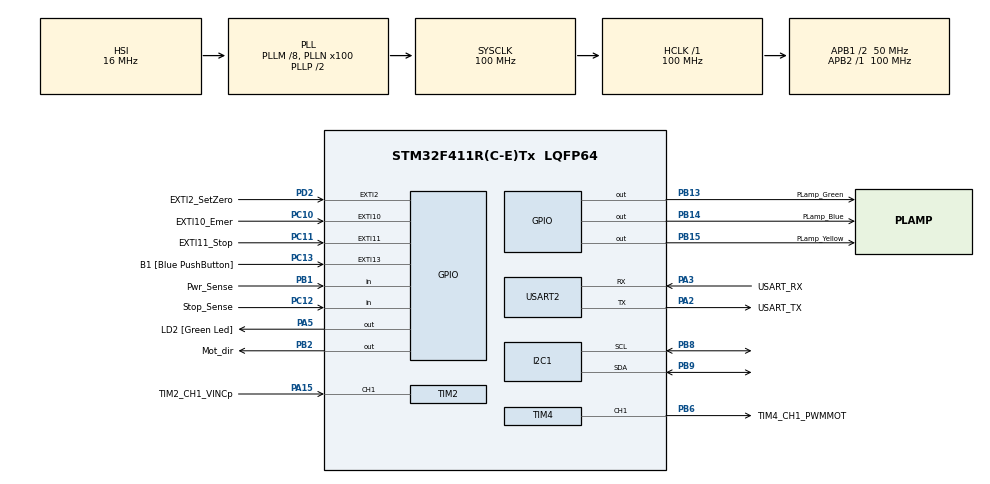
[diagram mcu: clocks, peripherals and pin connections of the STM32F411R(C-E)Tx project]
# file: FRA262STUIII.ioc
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ARM.CMSIS.5.6.0.CMSISJjCORE=true
ARM.CMSIS.5.6.0.CMSISJjDSP=Library
Dma.Request0=TIM2_CH1
Dma.TIM2_CH1.0.Direction=DMA_PERIPH_TO_MEMORY
Dma.TIM2_CH1.0.FIFOMode=DMA_FIFOMODE_DISABLE
Dma.TIM2_CH1.0.Instance=DMA1_Stream5
Dma.TIM2_CH1.0.MemDataAlignment=DMA_MDATAALIGN_WORD
Dma.TIM2_CH1.0.MemInc=DMA_MINC_ENABLE
Dma.TIM2_CH1.0.Mode=DMA_CIRCULAR
Dma.TIM2_CH1.0.PeriphDataAlignment=DMA_PDATAALIGN_WORD
Dma.TIM2_CH1.0.PeriphInc=DMA_PINC_DISABLE
Dma.TIM2_CH1.0.Priority=DMA_PRIORITY_LOW
I2C1.I2C_Mode=I2C_Fast
Mcu.Family=STM32F4
Mcu.Name=STM32F411R(C-E)Tx
Mcu.Package=LQFP64
NVIC.DMA1_Stream5_IRQn=true\:0\:0\:false\:false\:true\:false\:true\:true
NVIC.EXTI15_10_IRQn=true\:0\:0\:false\:false\:true\:true\:true\:true
NVIC.EXTI2_IRQn=true\:0\:0\:false\:false\:true\:true\:true\:true
NVIC.I2C1_ER_IRQn=true\:0\:0\:false\:false\:true\:true\:true\:true
NVIC.I2C1_EV_IRQn=true\:0\:0\:false\:false\:true\:true\:true\:true
NVIC.PriorityGroup=NVIC_PRIORITYGROUP_0
NVIC.TIM1_TRG_COM_TIM11_IRQn=true\:0\:0\:false\:false\:true\:true\:true\:true
PA13.GPIO_Label=TMS
PA13.Mode=Serial_Wire
PA13.Signal=SYS_JTMS-SWDIO
PA14.GPIO_Label=TCK
PA14.Mode=Serial_Wire
PA14.Signal=SYS_JTCK-SWCLK
PA15.GPIO_Label=TIM2_CH1_VINCp
PA15.Signal=S_TIM2_CH1_ETR
PA2.GPIO_Label=USART_TX
PA2.Mode=Asynchronous
PA2.Signal=USART2_TX
PA3.GPIO_Label=USART_RX
PA3.Mode=Asynchronous
PA3.Signal=USART2_RX
PA5.GPIO_Label=LD2 [Green Led]
PA5.Signal=GPIO_Output
PB1.GPIO_Label=Pwr_Sense
PB1.Signal=GPIO_Input
PB13.GPIO_Label=PLamp_Green
PB13.Signal=GPIO_Output
PB14.GPIO_Label=PLamp_Blue
PB14.Signal=GPIO_Output
PB15.GPIO_Label=PLamp_Yellow
PB15.Signal=GPIO_Output
PB2.GPIO_Label=Mot_dir
PB2.Signal=GPIO_Output
PB3.GPIO_Label=SWO
PB3.Signal=SYS_JTDO-SWO
PB6.GPIO_Label=TIM4_CH1_PWMMOT
PB6.Signal=S_TIM4_CH1
PB8.Mode=I2C
PB8.Signal=I2C1_SCL
PB9.Mode=I2C
PB9.Signal=I2C1_SDA
PC10.GPIO_Label=EXTI10_Emer
PC10.GPIO_ModeDefaultEXTI=GPIO_MODE_IT_RISING
PC10.GPIO_PuPd=GPIO_NOPULL
PC10.Signal=GPXTI10
PC11.GPIO_Label=EXTI11_Stop
PC11.GPIO_ModeDefaultEXTI=GPIO_MODE_IT_FALLING
PC11.Signal=GPXTI11
PC12.GPIO_Label=Stop_Sense
PC12.Signal=GPIO_Input
PC13-ANTI_TAMP.GPIO_Label=B1 [Blue PushButton]
PC13-ANTI_TAMP.GPIO_ModeDefaultEXTI=GPIO_MODE_IT_FALLING
PC13-ANTI_TAMP.Signal=GPXTI13
PC14-OSC32_IN.Mode=LSE-External-Oscillator
PC14-OSC32_IN.Signal=RCC_OSC32_IN
PC15-OSC32_OUT.Mode=LSE-External-Oscillator
PC15-OSC32_OUT.Signal=RCC_OSC32_OUT
PD2.GPIO_Label=EXTI2_SetZero
PD2.Signal=GPXTI2
PH0\ -\ OSC_IN.Mode=HSE-External-Clock-Source
PH0\ -\ OSC_IN.Signal=RCC_OSC_IN
PH1\ -\ OSC_OUT.Mode=HSE-External-Clock-Source
PH1\ -\ OSC_OUT.Signal=RCC_OSC_OUT
ProjectManager.HeapSize=0x200
ProjectManager.StackSize=0x400
ProjectManager.TargetToolchain=STM32CubeIDE
RCC.48MHZClocksFreq_Value=50000000
RCC.AHBFreq_Value=100000000
RCC.APB1CLKDivider=RCC_HCLK_DIV2
RCC.APB1Freq_Value=50000000
RCC.APB1TimFreq_Value=100000000
RCC.APB2Freq_Value=100000000
RCC.APB2TimFreq_Value=100000000
RCC.CortexFreq_Value=100000000
RCC.FLatency-AdvancedSettings=FLASH_LATENCY_3
RCC.HCLKFreq_Value=100000000
RCC.HSE_VALUE=8000000
RCC.HSI_VALUE=16000000
RCC.PLLM=8
RCC.PLLN=100
RCC.SYSCLKFreq_VALUE=100000000
RCC.SYSCLKSource=RCC_SYSCLKSOURCE_PLLCLK
RCC.VCOOutputFreq_Value=200000000
SH.S_TIM2_CH1_ETR.0=TIM2_CH1,Input_Capture1_from_TI1
SH.S_TIM4_CH1.0=TIM4_CH1,PWM Generation1 CH1
TIM11.Prescaler=99
TIM2.AutoReloadPreload=TIM_AUTORELOAD_PRELOAD_DISABLE
TIM2.Channel-Input_Capture1_from_TI1=TIM_CHANNEL_1
TIM2.ICPolarity_CH1=TIM_INPUTCHANNELPOLARITY_RISING
TIM2.Prescaler=99
TIM4.Channel-PWM\ Generation1\ CH1=TIM_CHANNEL_1
TIM4.Period=9999
USART2.VirtualMode=VM_ASYNC
VP_ARM.CMSIS_VS_CMSISJjCORE_5.3.0_5.6.0.Mode=CMSISJjCORE
VP_ARM.CMSIS_VS_CMSISJjDSP_1.7.0_5.6.0.Mode=CMSISJjDSP
VP_TIM11_VS_ClockSourceINT.Mode=Enable_Timer
VP_TIM2_VS_ClockSourceINT.Mode=Internal
VP_TIM4_VS_ClockSourceINT.Mode=Internal
board=NUCLEO-F411RE

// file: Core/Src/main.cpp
/* USER CODE BEGIN Header */
/**
  ******************************************************************************
  * @file           : main.c
  * @brief          : Main program body
  ******************************************************************************
  * @attention
  *
  * Copyright (c) 2022 STMicroelectronics.
  * All rights reserved.
  *
  * This software is licensed under terms that can be found in the LICENSE file
  * in the root directory of this software component.
  * If no LICENSE file comes with this software, it is provided AS-IS.
  *
  ******************************************************************************
  */
/*
  //----------------------------------
  // FRA262 Robotics Studio III, 1 DOF
  // G6, OWL'S OFFICE
  // ----------------------------------
  // Pin for
  // - Absolute Encoder read
  //	[Position, Velocity] (State Machine read with OF-STUIII-SEN011 Circuit)
  // - Motor Control
  // 	[PWM, direction] (Using Cytron MD10C)
  // - End Effector I2C
  // - Voltage sense at power bar
   *     X
   * - EMERGENCY Interrupt
   * - I/O Button
   *
  //-----------------------------------   */
/* USER CODE END Header */
#include "main.h"

/* USER CODE BEGIN Includes */
#define _USER_MATH_DEFINES
#include "math.h"
#include <cstdlib>

#include <Eigen/Dense>

using namespace Eigen;

/* USER CODE END Includes */

/* USER CODE BEGIN PD */
#define CAPTURENUM 16 // sample data array size for velo
#define POSOFFSET -900 // angle zero offset abs enc
#define ADDR_EFFT 0b01000110 // End Effector Addr 0x23 0010 0011
#define ADDR_IOXT 0b01000000 // datasheet p15
#define Dt 0.01
/* USER CODE END PD */

 I2C_HandleTypeDef hi2c1;

TIM_HandleTypeDef htim2;
TIM_HandleTypeDef htim4;
TIM_HandleTypeDef htim11;
DMA_HandleTypeDef hdma_tim2_ch1;

UART_HandleTypeDef huart2;

/* USER CODE BEGIN PV */
///////////////////////////////////////////////////////////////////////////
/////////////////Grand State///////////////////////////////////////////////
static enum {Ready, work, stop, emer , stopnd} grandState = Ready;
uint8_t pwr_sense = 0;
uint8_t stop_sense = 0;
uint32_t TimeStampGrand = 0;
uint64_t _micros = 0;

uint8_t counter_e = 0;

//////////////Abs Encoder 10 bit I2C /////////////////////////////
uint32_t timeStampSR =0;
//uint8_t RawEnBitA = 0b0, RawEnBitB = 0b0;
uint8_t RawEnBitAB[2] = {0b0};
uint16_t GrayCBitXI = 0b0, BinPosXI = 0b0;
uint8_t flag_absenc = 0;
////////////// velo dma input capture////////////////////
//DMA Buffer
uint32_t capturedata[CAPTURENUM] = { 0 };
//diff time of capture data
int64_t DiffTime[CAPTURENUM-1] = { 0 };

//Mean difftime
float MeanTime =0;
float RoundNum = 0; // num of pulse in 1 min

uint16_t posSpeedlog[3] = {0};
float speedsmoothlog[CAPTURENUM] = {0};
float deltaar = 0;
float RoundNumnd = 0;
float RoundNumnd_sm = 0;
uint64_t timestampve = 0;
////////////PWM & Motor Driver/////////////////////////////////////////
uint16_t PWMOut = 0; // dytycycle = x/10000 % ,TIM4 PB6
uint32_t timestampPWM = 0;
uint8_t mot_dirctn = 0;

///////////////// Trajectory cat cat /////////////////
float Finalposition = 0;
float Distance = 0;
float Velocity = 0 ;
float Acceleration = 0;
float OutPosition = 0;
float OutVelocity = 0;
float OutAcceleration = 0;
float Tb = 0;
float timeFinal = 0;
float TimeinS = 0;
float Currentpos = 0;
int flagNewpos = 0;
uint32_t TimeStampTraject = 0;

float a0 = 0;
float a3 = 0;
float a4 = 0;
float a5 = 0;

/////////////////// Kalman cat cat //////////////////////////////

uint32_t TimeStampKalman = 0;
uint64_t runtime = 0;
float Q1=1000 ;

Matrix <float,3,3> A ;
Matrix <float,3,3> P ;
Matrix <float,3,3> O ;
Matrix <float,3,3> I ;
Matrix <float,1,1> S ;
Matrix <float,1,1> R ;
Matrix <float,1,1> D ;
Matrix <float,1,1> Z ;
Matrix <float,3,1> K ;
Matrix <float,1,3> C ;
Matrix <float,3,1> G ;
Matrix <float,3,3> Q ;

Vector3f X;
Vector3f X1;
Vector3f B;

float KalP;
float KalV;
float KalA;

float DiffVelo = 0;
float Pos1 = 0;
float Pos2 = 0;

///////////////////Unwrap testKalman/////////////////////////////////
float P0=0;
float P_0=0;
float Pn=0;
float P_n=0;
float RawData=0;
float P_max=1024*0.006136;
float e = 0.6*1024*0.006136;
float OutUnwrap = 0;
float CurrentEn = 0;

uint32_t TimeUnwrap=0;

/////////////////// PID cat cat /////////////////////////////////////////////
uint8_t ErrPosx = 0;
uint32_t TimeStampPID_P=0;

float TargetDeg = 3.141*2; // target degree pid
uint8_t bluecounter = 0;
float ufromposit = 0 ;
float ErrPos[2] = {0};  // error
float sumError = 0 ;
/*
float K_P = 0;
float K_I = 0;
float K_D = 0;
*/

float K_P = 0.02;
float K_I = 0;
float K_D = 0;

/*
float K_P = 4;
float K_I = 0.006;
float K_D = 2;
*/
/*
float K_P = 1.8;
float K_I = 0.001;
float K_D = 1.5;
*/
float Propo;
float Integral;
float Derivate;

//////////////////////////////////// PID Velo //////////////////////////
float ErrVelo[3] = {0};  // error

float K_P_V = 2;
float K_I_V = 0.215;
float K_D_V = 1.65;

/*
  float K_I_V = 0.3222225;
float K_P_V = 2.3;
float K_I_V = 0.32225;
float K_D_V = 20;
*/

/*
float K_P_V = 5.5;
float K_I_V = 0.0225;
float K_D_V = 10;
*/

/*
float K_P_V = 3.5;
float K_I_V = 0.0225;
float K_D_V = 7;
*/
/*
float K_P_V = 4.57;
float K_I_V = 0.025;
float K_D_V = 20;
*/
float Vcontr[2] = {0};
float SumAll = 0;
uint32_t TimeStampPID_V=0;

float u_contr = 0;

uint32_t TimeStampdiff=0;
uint32_t TimeDrive = 0;
uint8_t ch;
uint8_t check=0;
////////////End Effector////////////////////////////////////
// ADDR 0x23 ACK Register 0x45 : Laser On
// ADDR 0x23 ACK Register 0x23 : Laser data read request
// ADDR 0x23 ACK Register ____ : Laser read (request before every read)

// Regis 0x12 : Start (1sec)
// Regis 0x34 : Work (31sec)
// Regis 0x56 : Stop (1sec)
// Regis 0x78 : wait new (- sec)
/* USER CODE END PV */

void SystemClock_Config(void);
static void MX_GPIO_Init(void);
static void MX_USART2_UART_Init(void);
static void MX_DMA_Init(void);
static void MX_I2C1_Init(void);
static void MX_TIM11_Init(void);
static void MX_TIM2_Init(void);
static void MX_TIM4_Init(void);
/* USER CODE BEGIN PFP */
void IOExpenderInit();
uint16_t GraytoBinario(uint16_t grayx,uint8_t numbit);
//void AbsEncI2CRead(uint8_t *RawRA, uint8_t *RawRB);
void AbsEncI2CReadx(uint8_t *RawRAB);
void encoderSpeedReaderCycle();

void GrandStatumix();
void Speedsmoothfunc(float inpdat);
//void PIDzero();
void PIDPosition();
void PIDVelocity();
void MotDrvCytron();
uint64_t micros();
void Kalmanfilter();
void Trajectory();
void Unwrapping();
void diffvelo();
void controlloop();

/* USER CODE END PFP */

int main(void)
{
  /* USER CODE BEGIN 1 */

	/////assign  Matrix  element value  //////////
	A << 1 ,   Dt    ,   (Dt*Dt)/2 ,
	     0 ,    1    ,      Dt    ,
		 0 ,    0    ,      1     ;

	X << 0 ,    0    ,      0     ;

	X1 << 0 ,    0    ,      0     ;

	P << 0.000001 , 			0 	 , 			0     ,
	     0 		 ,    0.000001    ,  		0     ,
		 0 		 ,    		0    ,      0.000001     ;

	O << 0 , 	0 	 , 		0     ,
	     0 ,    0    ,  	0     ,
		 0 ,    0    ,      0     ;

	I << 1 , 0 , 0 ,
		 0 , 1 , 0 ,
		 0 , 0 , 1 ;

	R << pow(10,0); ;

	D << 0 ;

	B << 0 , 0 , 0 ;

	C << 1 , 0 , 0 ;

	G << (Dt*Dt)/2 , Dt , 1 ;

  /* USER CODE END 1 */

  /* MCU Configuration--------------------------------------------------------*/

  /* Reset of all peripherals, Initializes the Flash interface and the Systick. */
  HAL_Init();

  /* Configure the system clock */
  SystemClock_Config();

  /* Initialize all configured peripherals */
  MX_GPIO_Init();
  MX_USART2_UART_Init();
  MX_DMA_Init();
  MX_I2C1_Init();
  MX_TIM11_Init();
  MX_TIM2_Init();
  MX_TIM4_Init();
  /* USER CODE BEGIN 2 */
  	HAL_TIM_Base_Start_IT(&htim11); // micro timer
    HAL_TIM_Base_Start(&htim2); // Speed
    HAL_TIM_IC_Start_DMA(&htim2, TIM_CHANNEL_1, (uint32_t*) &capturedata,
    			CAPTURENUM);

    //PWM Test
    HAL_TIM_Base_Start(&htim4);
    HAL_TIM_PWM_Start(&htim4, TIM_CHANNEL_1);

    //MCP23017 setting init
    HAL_Delay(100);
    IOExpenderInit();
  /* USER CODE END 2 */

  /* Infinite loop */
  while (1)
  {

    /* USER CODE BEGIN 3 */

	  	  ///// GrandState ///////////////////
	  	  if(micros() - TimeStampGrand >= 1000){
	  		TimeStampGrand = micros();
	  		GrandStatumix();
	  	  }
	  	  // Encoder I2CRead
	  	  if (micros()-timeStampSR > 10000)      // don't use 1 millisec
	  	          {
	  	              timeStampSR = micros();           //set new time stamp

	  	              flag_absenc = 1;
	  	              pwr_sense = HAL_GPIO_ReadPin(Pwr_Sense_GPIO_Port, Pwr_Sense_Pin);
	  	          }
	  	  AbsEncI2CReadx(RawEnBitAB);
	  //	  encoderSpeedReaderCycle();

	 /* 	  ///////////////////////// speed measyre////////
	  	if(micros() - timestampve >= 10000){
	  			  timestampve = micros();
	  			  posSpeedlog[1] = posSpeedlog[0];
	  			  posSpeedlog[0] = BinPosXI;
	  			  deltaar = (fabsf(posSpeedlog[1]-posSpeedlog[0])) / 1024.0;
	  			  RoundNumnd = deltaar*100.0*60.0;
	  			  Speedsmoothfunc(RoundNumnd);
	  		 }
	  		*/

	  	  ///////////////////// 2KHz change PWM PB6////////////////////
	  	 if(micros() - timestampPWM >= 500){
	  		  	  timestampPWM = micros(); // stamp
	  	  		  __HAL_TIM_SET_COMPARE(&htim4, TIM_CHANNEL_1, PWMOut);
	  	  		  //ADC_Target = ADCFeedx[1].datt;
	  	  		  //HAL_GPIO_WritePin(Mot_dir_GPIO_Port, Mot_dir_Pin, mot_dirctn);
	  	  		if (mot_dirctn == 0){
						HAL_GPIO_WritePin(Mot_dir_GPIO_Port, Mot_dir_Pin, GPIO_PIN_SET);
					}
	  	  		else{
						HAL_GPIO_WritePin(Mot_dir_GPIO_Port, Mot_dir_Pin, GPIO_PIN_RESET);
					}
	  	  	  }

	  	 if (grandState ==  work){
	  		 Unwrapping();
	  		 if(flagNewpos==0){
	  		   // Currentpos = CurrentEn;
	  			Currentpos = 0*0.006136;
	  		    Finalposition = 1022*0.006136;
	  		    Distance = Finalposition-Currentpos;
	  		    flagNewpos = 1;
	  		 }

	  		Trajectory();
	  		Kalmanfilter();
	  		controlloop();

	  		/* PIDPosition();
	  		 PIDVelocity();
	         PWMOut = 5000;
	  		 MotDrvCytron();
	  	//	 PIDzero();*/
	  		/* u_contr = 0;
	  		*/

	  	 }

  }
  /* USER CODE END 3 */
}

void SystemClock_Config(void)
{
  RCC_OscInitTypeDef RCC_OscInitStruct = {0};
  RCC_ClkInitTypeDef RCC_ClkInitStruct = {0};

  /** Configure the main internal regulator output voltage
  */
  __HAL_RCC_PWR_CLK_ENABLE();
  __HAL_PWR_VOLTAGESCALING_CONFIG(PWR_REGULATOR_VOLTAGE_SCALE1);

  /** Initializes the RCC Oscillators according to the specified parameters
  * in the RCC_OscInitTypeDef structure.
  */
  RCC_OscInitStruct.OscillatorType = RCC_OSCILLATORTYPE_HSI;
  RCC_OscInitStruct.HSIState = RCC_HSI_ON;
  RCC_OscInitStruct.HSICalibrationValue = RCC_HSICALIBRATION_DEFAULT;
  RCC_OscInitStruct.PLL.PLLState = RCC_PLL_ON;
  RCC_OscInitStruct.PLL.PLLSource = RCC_PLLSOURCE_HSI;
  RCC_OscInitStruct.PLL.PLLM = 8;
  RCC_OscInitStruct.PLL.PLLN = 100;
  RCC_OscInitStruct.PLL.PLLP = RCC_PLLP_DIV2;
  RCC_OscInitStruct.PLL.PLLQ = 4;
  if (HAL_RCC_OscConfig(&RCC_OscInitStruct) != HAL_OK)
  {
    Error_Handler();
  }

  /** Initializes the CPU, AHB and APB buses clocks
  */
  RCC_ClkInitStruct.ClockType = RCC_CLOCKTYPE_HCLK|RCC_CLOCKTYPE_SYSCLK
                              |RCC_CLOCKTYPE_PCLK1|RCC_CLOCKTYPE_PCLK2;
  RCC_ClkInitStruct.SYSCLKSource = RCC_SYSCLKSOURCE_PLLCLK;
  RCC_ClkInitStruct.AHBCLKDivider = RCC_SYSCLK_DIV1;
  RCC_ClkInitStruct.APB1CLKDivider = RCC_HCLK_DIV2;
  RCC_ClkInitStruct.APB2CLKDivider = RCC_HCLK_DIV1;

  if (HAL_RCC_ClockConfig(&RCC_ClkInitStruct, FLASH_LATENCY_3) != HAL_OK)
  {
    Error_Handler();
  }
}

static void MX_I2C1_Init(void)
{

  hi2c1.Instance = I2C1;
  hi2c1.Init.ClockSpeed = 400000;
  hi2c1.Init.DutyCycle = I2C_DUTYCYCLE_2;
  hi2c1.Init.OwnAddress1 = 0;
  hi2c1.Init.AddressingMode = I2C_ADDRESSINGMODE_7BIT;
  hi2c1.Init.DualAddressMode = I2C_DUALADDRESS_DISABLE;
  hi2c1.Init.OwnAddress2 = 0;
  hi2c1.Init.GeneralCallMode = I2C_GENERALCALL_DISABLE;
  hi2c1.Init.NoStretchMode = I2C_NOSTRETCH_DISABLE;
  if (HAL_I2C_Init(&hi2c1) != HAL_OK)
  {
    Error_Handler();
  }

}

static void MX_TIM2_Init(void)
{

  TIM_ClockConfigTypeDef sClockSourceConfig = {0};
  TIM_MasterConfigTypeDef sMasterConfig = {0};
  TIM_IC_InitTypeDef sConfigIC = {0};

  htim2.Instance = TIM2;
  htim2.Init.Prescaler = 99;
  htim2.Init.CounterMode = TIM_COUNTERMODE_UP;
  htim2.Init.Period = 4294967295;
  htim2.Init.ClockDivision = TIM_CLOCKDIVISION_DIV1;
  htim2.Init.AutoReloadPreload = TIM_AUTORELOAD_PRELOAD_DISABLE;
  if (HAL_TIM_Base_Init(&htim2) != HAL_OK)
  {
    Error_Handler();
  }
  sClockSourceConfig.ClockSource = TIM_CLOCKSOURCE_INTERNAL;
  if (HAL_TIM_ConfigClockSource(&htim2, &sClockSourceConfig) != HAL_OK)
  {
    Error_Handler();
  }
  if (HAL_TIM_IC_Init(&htim2) != HAL_OK)
  {
    Error_Handler();
  }
  sMasterConfig.MasterOutputTrigger = TIM_TRGO_RESET;
  sMasterConfig.MasterSlaveMode = TIM_MASTERSLAVEMODE_DISABLE;
  if (HAL_TIMEx_MasterConfigSynchronization(&htim2, &sMasterConfig) != HAL_OK)
  {
    Error_Handler();
  }
  sConfigIC.ICPolarity = TIM_INPUTCHANNELPOLARITY_RISING;
  sConfigIC.ICSelection = TIM_ICSELECTION_DIRECTTI;
  sConfigIC.ICPrescaler = TIM_ICPSC_DIV1;
  sConfigIC.ICFilter = 0;
  if (HAL_TIM_IC_ConfigChannel(&htim2, &sConfigIC, TIM_CHANNEL_1) != HAL_OK)
  {
    Error_Handler();
  }

}

static void MX_TIM4_Init(void)
{

  TIM_ClockConfigTypeDef sClockSourceConfig = {0};
  TIM_MasterConfigTypeDef sMasterConfig = {0};
  TIM_OC_InitTypeDef sConfigOC = {0};

  htim4.Instance = TIM4;
  htim4.Init.Prescaler = 0;
  htim4.Init.CounterMode = TIM_COUNTERMODE_UP;
  htim4.Init.Period = 9999;
  htim4.Init.ClockDivision = TIM_CLOCKDIVISION_DIV1;
  htim4.Init.AutoReloadPreload = TIM_AUTORELOAD_PRELOAD_DISABLE;
  if (HAL_TIM_Base_Init(&htim4) != HAL_OK)
  {
    Error_Handler();
  }
  sClockSourceConfig.ClockSource = TIM_CLOCKSOURCE_INTERNAL;
  if (HAL_TIM_ConfigClockSource(&htim4, &sClockSourceConfig) != HAL_OK)
  {
    Error_Handler();
  }
  if (HAL_TIM_PWM_Init(&htim4) != HAL_OK)
  {
    Error_Handler();
  }
  sMasterConfig.MasterOutputTrigger = TIM_TRGO_RESET;
  sMasterConfig.MasterSlaveMode = TIM_MASTERSLAVEMODE_DISABLE;
  if (HAL_TIMEx_MasterConfigSynchronization(&htim4, &sMasterConfig) != HAL_OK)
  {
    Error_Handler();
  }
  sConfigOC.OCMode = TIM_OCMODE_PWM1;
  sConfigOC.Pulse = 0;
  sConfigOC.OCPolarity = TIM_OCPOLARITY_HIGH;
  sConfigOC.OCFastMode = TIM_OCFAST_DISABLE;
  if (HAL_TIM_PWM_ConfigChannel(&htim4, &sConfigOC, TIM_CHANNEL_1) != HAL_OK)
  {
    Error_Handler();
  }
  HAL_TIM_MspPostInit(&htim4);

}

static void MX_TIM11_Init(void)
{

  htim11.Instance = TIM11;
  htim11.Init.Prescaler = 99;
  htim11.Init.CounterMode = TIM_COUNTERMODE_UP;
  htim11.Init.Period = 65535;
  htim11.Init.ClockDivision = TIM_CLOCKDIVISION_DIV1;
  htim11.Init.AutoReloadPreload = TIM_AUTORELOAD_PRELOAD_DISABLE;
  if (HAL_TIM_Base_Init(&htim11) != HAL_OK)
  {
    Error_Handler();
  }

}

static void MX_USART2_UART_Init(void)
{

  huart2.Instance = USART2;
  huart2.Init.BaudRate = 115200;
  huart2.Init.WordLength = UART_WORDLENGTH_8B;
  huart2.Init.StopBits = UART_STOPBITS_1;
  huart2.Init.Parity = UART_PARITY_NONE;
  huart2.Init.Mode = UART_MODE_TX_RX;
  huart2.Init.HwFlowCtl = UART_HWCONTROL_NONE;
  huart2.Init.OverSampling = UART_OVERSAMPLING_16;
  if (HAL_UART_Init(&huart2) != HAL_OK)
  {
    Error_Handler();
  }

}

static void MX_DMA_Init(void)
{

  /* DMA controller clock enable */
  __HAL_RCC_DMA1_CLK_ENABLE();

  /* DMA interrupt init */
  /* DMA1_Stream5_IRQn interrupt configuration */
  HAL_NVIC_SetPriority(DMA1_Stream5_IRQn, 0, 0);
  HAL_NVIC_EnableIRQ(DMA1_Stream5_IRQn);

}

static void MX_GPIO_Init(void)
{
  GPIO_InitTypeDef GPIO_InitStruct = {0};

  /* GPIO Ports Clock Enable */
  __HAL_RCC_GPIOC_CLK_ENABLE();
  __HAL_RCC_GPIOH_CLK_ENABLE();
  __HAL_RCC_GPIOA_CLK_ENABLE();
  __HAL_RCC_GPIOB_CLK_ENABLE();
  __HAL_RCC_GPIOD_CLK_ENABLE();

  /*Configure GPIO pin Output Level */
  HAL_GPIO_WritePin(LD2_GPIO_Port, LD2_Pin, GPIO_PIN_RESET);

  /*Configure GPIO pin Output Level */
  HAL_GPIO_WritePin(GPIOB, Mot_dir_Pin|PLamp_Green_Pin|PLamp_Blue_Pin|PLamp_Yellow_Pin, GPIO_PIN_RESET);

  /*Configure GPIO pins : B1_Pin EXTI11_Stop_Pin */
  GPIO_InitStruct.Pin = B1_Pin|EXTI11_Stop_Pin;
  GPIO_InitStruct.Mode = GPIO_MODE_IT_FALLING;
  GPIO_InitStruct.Pull = GPIO_NOPULL;
  HAL_GPIO_Init(GPIOC, &GPIO_InitStruct);

  /*Configure GPIO pin : LD2_Pin */
  GPIO_InitStruct.Pin = LD2_Pin;
  GPIO_InitStruct.Mode = GPIO_MODE_OUTPUT_PP;
  GPIO_InitStruct.Pull = GPIO_NOPULL;
  GPIO_InitStruct.Speed = GPIO_SPEED_FREQ_LOW;
  HAL_GPIO_Init(LD2_GPIO_Port, &GPIO_InitStruct);

  /*Configure GPIO pin : Pwr_Sense_Pin */
  GPIO_InitStruct.Pin = Pwr_Sense_Pin;
  GPIO_InitStruct.Mode = GPIO_MODE_INPUT;
  GPIO_InitStruct.Pull = GPIO_NOPULL;
  HAL_GPIO_Init(Pwr_Sense_GPIO_Port, &GPIO_InitStruct);

  /*Configure GPIO pins : Mot_dir_Pin PLamp_Green_Pin PLamp_Blue_Pin PLamp_Yellow_Pin */
  GPIO_InitStruct.Pin = Mot_dir_Pin|PLamp_Green_Pin|PLamp_Blue_Pin|PLamp_Yellow_Pin;
  GPIO_InitStruct.Mode = GPIO_MODE_OUTPUT_PP;
  GPIO_InitStruct.Pull = GPIO_NOPULL;
  GPIO_InitStruct.Speed = GPIO_SPEED_FREQ_LOW;
  HAL_GPIO_Init(GPIOB, &GPIO_InitStruct);

  /*Configure GPIO pin : EXTI10_Emer_Pin */
  GPIO_InitStruct.Pin = EXTI10_Emer_Pin;
  GPIO_InitStruct.Mode = GPIO_MODE_IT_RISING;
  GPIO_InitStruct.Pull = GPIO_NOPULL;
  HAL_GPIO_Init(EXTI10_Emer_GPIO_Port, &GPIO_InitStruct);

  /*Configure GPIO pin : Stop_Sense_Pin */
  GPIO_InitStruct.Pin = Stop_Sense_Pin;
  GPIO_InitStruct.Mode = GPIO_MODE_INPUT;
  GPIO_InitStruct.Pull = GPIO_NOPULL;
  HAL_GPIO_Init(Stop_Sense_GPIO_Port, &GPIO_InitStruct);

  /*Configure GPIO pin : EXTI2_SetZero_Pin */
  GPIO_InitStruct.Pin = EXTI2_SetZero_Pin;
  GPIO_InitStruct.Mode = GPIO_MODE_IT_RISING;
  GPIO_InitStruct.Pull = GPIO_NOPULL;
  HAL_GPIO_Init(EXTI2_SetZero_GPIO_Port, &GPIO_InitStruct);

  /* EXTI interrupt init*/
  HAL_NVIC_SetPriority(EXTI2_IRQn, 0, 0);
  HAL_NVIC_EnableIRQ(EXTI2_IRQn);

  HAL_NVIC_SetPriority(EXTI15_10_IRQn, 0, 0);
  HAL_NVIC_EnableIRQ(EXTI15_10_IRQn);

}

/* USER CODE BEGIN 4 */
////////// Grand State //////////////////////////////////////////////////////
void GrandStatumix(){
	if (grandState != Ready){
		HAL_GPIO_WritePin(PLamp_Green_GPIO_Port, PLamp_Green_Pin, GPIO_PIN_RESET);
	}
	if (grandState != work){
			HAL_GPIO_WritePin(PLamp_Blue_GPIO_Port, PLamp_Blue_Pin, GPIO_PIN_RESET);
		}
	if (grandState != stop || grandState != stopnd){
				HAL_GPIO_WritePin(PLamp_Yellow_GPIO_Port, PLamp_Yellow_Pin, GPIO_PIN_RESET);
			}

	stop_sense = HAL_GPIO_ReadPin(Stop_Sense_GPIO_Port, Stop_Sense_Pin);

	switch(grandState){
	default:
	case Ready:
		HAL_GPIO_WritePin(PLamp_Green_GPIO_Port, PLamp_Green_Pin, GPIO_PIN_SET);
	//	PWMOut = 1500;
		Unwrapping();
	//	diffvelo();
		Kalmanfilter();
		if (pwr_sense == 1){grandState = emer;}
		if (stop_sense == 0){grandState = stop;}
		if (bluecounter != 0){grandState = work;} // can go work from ready only
	break;

	case work:
		HAL_GPIO_WritePin(PLamp_Blue_GPIO_Port, PLamp_Blue_Pin, GPIO_PIN_SET);

	// transfer to while

		if (pwr_sense == 1){
			grandState = emer;
			u_contr = 0;}
		if (stop_sense == 0){
			PWMOut = 0;
			grandState = stopnd;
			u_contr = 0;}
	break;

	case stop:
		HAL_GPIO_WritePin(PLamp_Yellow_GPIO_Port, PLamp_Yellow_Pin, GPIO_PIN_SET);
		PWMOut = 0;
		X(1,0)=0;
	    KalV = X(1,0);

		if (stop_sense == 1){
			grandState = Ready;

		//	mot_dirctn++;
			mot_dirctn%=2;
		}
	break;

	case stopnd:
			HAL_GPIO_WritePin(PLamp_Yellow_GPIO_Port, PLamp_Yellow_Pin, GPIO_PIN_SET);
			PWMOut = 0;
			Integral = 0;

			if (stop_sense == 1){
				grandState = work;
			}
		break;

	case emer:
		PWMOut = 0;
		if (pwr_sense == 0){
			grandState = Ready;
			HAL_Delay(100);
			IOExpenderInit();
		}
	break;
	}
}
////////// Absolute Encoder ////////////////////////////////////////////
uint16_t GraytoBinario(uint16_t grayx,uint8_t numbit){ // numbit=10

	uint16_t binaryout = 0b0;

    binaryout = (grayx >> (numbit-1))&0x01;
    //std::cout << binaryout << std::endl;

    for (int i = 1; i < numbit ;i++){
        /* XOR operation */
        int cp1 = binaryout&0x01 ;//>> (numbit-i)
        int cp2 = grayx >> (numbit-(i+1))&0x01; //

        if (cp1 == cp2)
            {binaryout = (binaryout << 1) + 0; } //qd = 0;
        else
            {binaryout = (binaryout << 1) + 1; } //qd = 1;
        //std::cout << "cp" << i << " " << cp1 << cp2 << " " << qd << "  "<<binaryout << std::endl;
    }
    //BinPos = binaryout;
    return binaryout;
}

void encoderSpeedReaderCycle() {
	// re code using position dif time
	//get DMA Position form number of data
	uint32_t CapPos =CAPTURENUM -  __HAL_DMA_GET_COUNTER(htim2.hdma[TIM_DMA_ID_CC1]);
	uint32_t sum = 0 ;

	//calculate diff from all buffer except current dma
	for(register int i=2 ;i < CAPTURENUM-1;i++)
	{
		DiffTime[i]  = capturedata[(CapPos+1+i)%CAPTURENUM]-capturedata[(CapPos+i)%CAPTURENUM];
		//Sum all  Diff
		sum += DiffTime[i];
	}

	//mean all Diff
	MeanTime =sum / (float)(CAPTURENUM-3);
	// Meantime = 1 time period for 1 pulse
	// 60000000 / MeanTime = amount of pulse in 1 minute with that time period
	// 1024 pulse per round

	RoundNum = (60000000.0 / MeanTime)/1024.0; // round per min detect by 1024 clk

}

void Speedsmoothfunc(float inpdat){
	//static uint8_t scc 0;
	for(int j = CAPTURENUM-1; j >= 0;j--){
		speedsmoothlog[j] = speedsmoothlog[j-1];
	}
	speedsmoothlog[0] = inpdat;

	float summa = 0.0;
	int errcut = 0;
	for (int k = 0; k < CAPTURENUM;k++){
		if (speedsmoothlog[k]>=500){errcut++;}
		else{summa+= speedsmoothlog[k];}

	}
	RoundNumnd_sm =  summa / (CAPTURENUM-errcut);
}

//////////////////// Trajectory Path //////////////////////
void Trajectory(){

	if(micros() - TimeStampTraject >= 10000){
		TimeStampTraject = micros();

		if (Distance > 0){
			Velocity=1.04719755;
			Acceleration= 0.5;
			check = 50;
		}
		else if(Distance < 0){
			Velocity=-1.04719755;
		    Acceleration= -0.5;
		    check = 100;
		}

		if (Distance/Velocity > Velocity/Acceleration){
			Tb = Velocity/Acceleration;
		}
		else {
			Tb = sqrt(2*abs(Distance));
			Velocity = sqrt(abs(Distance)/2);
		}
		//TimeinS = _micros/10^6;

		timeFinal = (4*abs(Velocity)) + ((abs(Distance)-(2*abs(Velocity)*abs(Velocity)))/abs(Velocity));
		/*timeFinal = (Distance*2)/Velocity;

		a0 = Currentpos;
		a3 = (1/(2*pow(timeFinal,3)))*(20*Distance);
		a4 = (1/(2*pow(timeFinal,4)))*(30*(Currentpos-Finalposition));
		a5 = (1/(2*pow(timeFinal,5)))*(12*Distance);

		OutPosition = a0+(a3*pow(TimeinS,3))+(a4*pow(TimeinS,4))+(a5*pow(TimeinS,5));
		OutVelocity = (3*a3*pow(TimeinS,2))+(4*a4*pow(TimeinS,3))+(5*a5*pow(TimeinS,4));
*/
/*
		if (TimeinS < Tb){
			OutPosition = (0.5*Acceleration*TimeinS*TimeinS)+Currentpos;
			OutVelocity = Acceleration*TimeinS;
			OutAcceleration = Acceleration;
			ch = 1;
			}
		else if(TimeinS < (timeFinal-Tb)){
			OutPosition = (0.5*Acceleration*(Tb*Tb)) + (Velocity*(TimeinS-Tb))+Currentpos;
			OutVelocity = Velocity;
			OutAcceleration = 0;
			ch = 2;
			}
		else if(((timeFinal-Tb) <= TimeinS) && (TimeinS <= timeFinal)){
			OutPosition = (0.5*Acceleration*(Tb*Tb))+ (Velocity*(timeFinal-(2*Tb)))  + (Velocity*(TimeinS-(timeFinal-Tb))) - (0.5*Acceleration*((TimeinS-(timeFinal-Tb))*(TimeinS-(timeFinal-Tb))))+Currentpos;
			OutVelocity = Velocity-(Acceleration*(TimeinS-(timeFinal-Tb)));
			OutAcceleration = -Acceleration;
			ch = 3;
			}
		else if(TimeinS > timeFinal){
			OutPosition = Distance+Currentpos;
			OutAcceleration = 0;
			ch = 4;
			}
*/

		TimeinS = TimeinS + Dt;

	//	OutVelocity = 0.523598775 ;
		}
}

//////////////////////// Unwrapping ///////////////////////
void Unwrapping(){

	if(micros() - TimeUnwrap >= 10000){
		TimeUnwrap = micros();
		Pn=BinPosXI*0.006136;
		if(Pn-P_n <= -1*e){
			P0=P_0+P_max;
		}
		else if(Pn-P_n >= e){
			P0=P_0-P_max;
		}
		else{
			P0=P_0;
		}

		OutUnwrap=Pn+P0;
		CurrentEn=BinPosXI*0.006136;
		P_n=Pn;
		P_0=P0;
	}
}

void diffvelo(){
	Pos1=OutUnwrap;
	if(micros() - TimeStampdiff>= 1000){
		TimeStampdiff = micros();
		if(Pos1!=Pos2){
			DiffVelo=(Pos1-Pos2)/Dt;
		}
		else{
			DiffVelo=DiffVelo;
		}
	//	DiffVelo=(Pos1-Pos2)/Dt;
		Pos2=Pos1;

	}
}

/////////////////////////// Kalman Filter///////////////////////
void Kalmanfilter(){

	 if(micros() - TimeStampKalman >= 10000){
		 TimeStampKalman = micros();
		 ////////// Predict ////////////////////
		 Q = G*Q1*G.transpose();
		 X = A*X1 ;
		 P = A*O*A.transpose()+Q;

		 //////////////// Update /////////////////////
	     Z << OutUnwrap ;
	//     Z << DiffVelo ;
		 K = (P*C.transpose())*(C*P*C.transpose()+R).inverse();
		 X1 = X+K*(Z-C*X);
		 O = (I-(K*C))*P;

		 KalP = X(0,0);
		 KalV = X(1,0);
		 KalA = X(2,0);
		 runtime = micros()-TimeStampKalman;

	     //ErrPos[0] = TargetDeg - BinPosXI*0.006136;
	 }

}

//////////////////////// PID Zero /////////////////////////////
void PIDPosition(){
	/*CrrntTime = micros();

	//DeltaTime = (CrrntTime - PreviTime) / 1000000.0; // seconds
	PreviTime = CrrntTime; // log previ here for next loop
	*/
	if(micros() - TimeStampPID_P >= 10000){
		TimeStampPID_P = micros();

		ErrPos[0] = OutPosition - KalP;
	//	ErrPos[0] = OutVelocity - KalV;
		sumError = sumError + ErrPos[0];

		Propo = K_P * ErrPos[0];

		Integral = K_I * sumError; // Integral -Newton-Leibniz

		Derivate = K_D * (ErrPos[0]-ErrPos[1]); // d/dt position

		ufromposit = Propo + Integral + Derivate;

		//u_contr = ufromposit ;
		ErrPos[1] = ErrPos[0]; // log previous error
	}
}

void PIDVelocity(){

	if(micros() - TimeStampPID_V >= 10000){
		TimeStampPID_V = micros();
		/*
		ErrVelo[0] = OutVelocity - KalV ;

		SumAll = (K_P_V + K_D_V + K_I_V)*ErrVelo[0]-(K_P_V+2*K_D_V)*ErrVelo[1]+K_D_V*ErrVelo[2] ;

		Vcontr[0] = Vcontr[1] + SumAll ;

		u_contr = Vcontr[0] ; //Out motor

		Vcontr[1] = Vcontr[0] ;

		ErrVelo[2] = ErrVelo[1] ;

		ErrVelo[1] = ErrVelo[0] ;
		*/

		ErrVelo[0] = OutVelocity + ufromposit - KalV;
		SumAll = SumAll + ErrVelo[0];

		u_contr = (K_P_V * ErrVelo[0])+(K_I_V * SumAll)+( K_D*(ErrVelo[0]-ErrVelo[1])) ;
		ErrVelo[1] = ErrVelo[0]; // log previous error
	}

}

void controlloop(){

	if(abs(Finalposition-KalP) < 0.005 && KalV < 0.0005){
		PWMOut=0;
		MotDrvCytron();
		//u_contr=0;

		//u_contr=0;
		//flagNewpos = 0;
		ch=8;
	}
	else{
		PIDPosition();
		PIDVelocity();
		MotDrvCytron();
	}

/*
	PIDVelocity();
	MotDrvCytron();
*/
}

void MotDrvCytron(){

	//   direction chk
	if(micros() - TimeDrive >= 10000){
		TimeDrive = micros();
		u_contr = u_contr*833.3;
		// u_contr = 2500;
		if(u_contr > 0){
			mot_dirctn= 1;
		}
		else if(u_contr < 0) {
			mot_dirctn = 0;
		}
		else{
			PWMOut = 0;
		}

		// speed
		PWMOut= (int) fabsf(u_contr); // Absolute int
		if(PWMOut> 5000){
			PWMOut = 5000; // saturate 50% gear 1:6 - 120rpm => 10rpm
		}
		if(PWMOut < 1600 && fabsf(ErrPos[0]) >= 4){
			PWMOut = 1600;  //pvnt too low pwm that can't drive mot
		}
		//if(ErrPos[0] < 2){PWMOut = 0;}
	}

}

/////////////////////Abs Encoder I2C////////////////////////////////////////////

void IOExpenderInit() {// call when start system
	//Init All// setting from datasheet p17 table 3.5
	static uint8_t Setting[0x16] = {
			0b11111111, // IODIRA 1 = in/2=0ut
			0b11111111, // IODIRB
			0b11111111, // IPOLA  1 = invert / 0  nonINV
			0b11111111, // IPOLB
			0x00, 0x00, 0x00, 0x00,
			0x00, 0x00, 0x00, 0x00,
			0x00, // GPPUA
			0x00, // GPPUB Pull up 100k R
			0x00, 0x00, 0x00, 0x00,
			0x00, // 0x12 GPIOA
			0x00, // 0x13 GPIOB
			0x00, 0x00 };
	// OLATB -> Out data for pinB
	HAL_I2C_Mem_Write(&hi2c1, ADDR_IOXT, 0x00, I2C_MEMADD_SIZE_8BIT, Setting,
			0x16, 100);
}
/*
void AbsEncI2CRead(uint8_t *RawRA, uint8_t *RawRB){

	if(flag_absenc != 0 && hi2c1.State == HAL_I2C_STATE_READY){
		//static uint8_t absencStep = 0;
		switch(flag_absenc){
		default:
			break;

		case 1:
			//HAL_I2C_Master_Receive(&hi2c1, ADDR_IOXT, GrayCBitx, 1, 100);
			//HAL_I2C_Master_Seq_Receive_DMA(hi2c, DevAddress, pData, Size, XferOptions);
			HAL_I2C_Mem_Read(&hi2c1, ADDR_IOXT, 0x12, I2C_MEMADD_SIZE_8BIT,
						RawRA, 1, 100);
			flag_absenc = 2;
		break;

		case 2:
			HAL_I2C_Mem_Read(&hi2c1, ADDR_IOXT, 0x13, I2C_MEMADD_SIZE_8BIT,
								RawRB, 1, 100);
			flag_absenc = 3;
		break;

		case 3:
			GrayCBitx = (RawEnBitB << 8) | RawEnBitA;
			//GrayCBitXI = ~GrayCBitx - 0b1111110000000000; // invert and clear 6 high
			GrayCBitXI = ~GrayCBitx & 0b0000001111111111;
			//BinPosx = GraytoBinario(GrayCBitx, 10);
			BinPosXI = GraytoBinario(GrayCBitXI, 10);
			flag_absenc = 0;
		break;
		}
	}
}
*/
void AbsEncI2CReadx(uint8_t *RawRAB){

	if(flag_absenc != 0 && hi2c1.State == HAL_I2C_STATE_READY){

		HAL_I2C_Mem_Read(&hi2c1, ADDR_IOXT, 0x12, I2C_MEMADD_SIZE_8BIT, RawRAB, 2, 100);

		GrayCBitXI = (RawEnBitAB[1] << 8) | RawEnBitAB[0]; // GrayCBitx

		BinPosXI =1023- (GraytoBinario(GrayCBitXI, 10) + POSOFFSET);  //
		if (BinPosXI >= 1024){BinPosXI = BinPosXI % 1024;}
		flag_absenc = 0;

/*
		switch(flag_absenc){
		default:
			break;

		case 1:

			HAL_I2C_Mem_Read(&hi2c1, ADDR_IOXT, 0x12, I2C_MEMADD_SIZE_8BIT,
						RawRAB, 2, 100);
			flag_absenc = 2;
		break;

		case 2:
			//invert in IPOL
			GrayCBitXI = (RawEnBitAB[1] << 8) | RawEnBitAB[0]; // GrayCBitx

			BinPosXI = 1023- (GraytoBinario(GrayCBitXI, 10) + POSOFFSET);  //
			if (BinPosXI >= 1024){BinPosXI = BinPosXI % 1024;}
			flag_absenc = 0;
		break;

		}
*/

	}
}

/////////////// Emer Interrupt /////////////////////////////////

void HAL_GPIO_EXTI_Callback(uint16_t GPIO_Pin){
	//// EMER ////
/*	if(GPIO_Pin == GPIO_PIN_11){
		HAL_GPIO_TogglePin(GPIOA, GPIO_PIN_5);
		counter_e++;
		grandState = emer;
		bluecounter = 0;
		PWMOut = 0;
		// Motor Driver Torque Lock here
	}
	//// Stop ////
	if(GPIO_Pin == GPIO_PIN_10){
		PWMOut = 0;
		bluecounter = 0;
		if(grandState == work){grandState = stopnd;}
		//else{grandState = stop;}

		}*/
	//// work ////
	if(GPIO_Pin == GPIO_PIN_13){
		bluecounter++;
	}

	//// setzero ////
		if(GPIO_Pin == GPIO_PIN_2){
		/*	Finalposition =(BinPosXI*0.006136);
			Unwrapping();
			Trajectory();
			Kalmanfilter();
			controlloop();
		*/
		}
}
///////////////////////////////////// micro timer////////////////////////////////////
uint64_t micros()
{return _micros + htim11.Instance->CNT;}

void HAL_TIM_PeriodElapsedCallback(TIM_HandleTypeDef *htim){
 if(htim == &htim11)
 {_micros += 65535;}
}

/* USER CODE END 4 */

void Error_Handler(void)
{
  __disable_irq();
  while (1)
  {
  }
}
